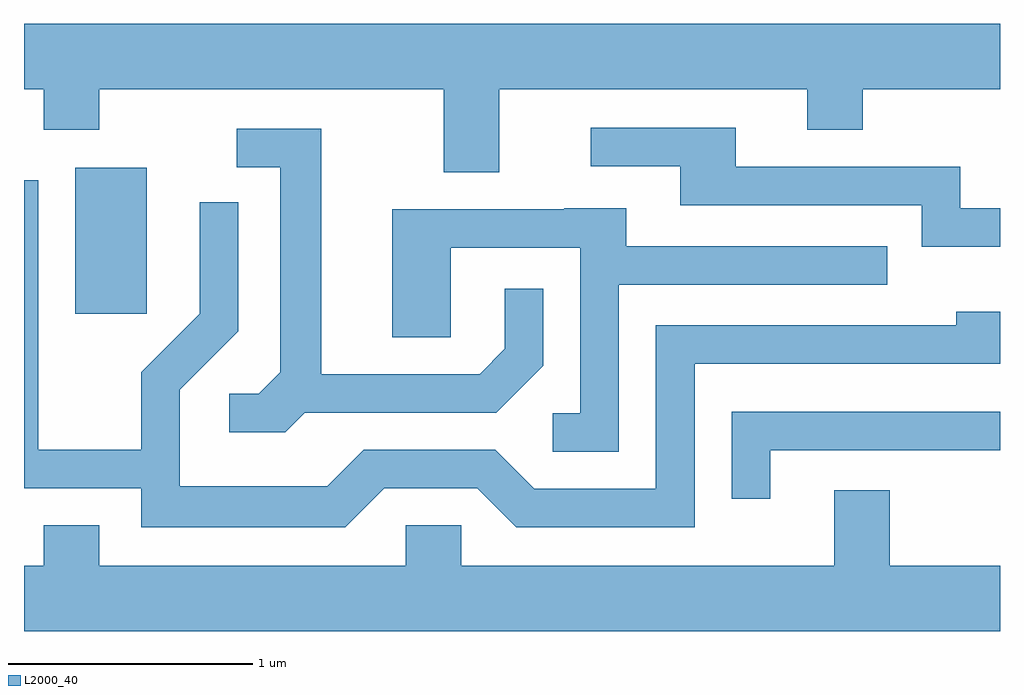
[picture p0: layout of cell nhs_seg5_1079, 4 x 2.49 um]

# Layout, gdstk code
import gdstk
lib = gdstk.Library(unit=1e-6, precision=1e-09)
def R(c, l, rs):  # rectangles x0, y0, x1, y1
    for r in rs: c.add(gdstk.rectangle(r[:2], r[2:], *l))
def P(c, l, *ps):  # polygons
    for p in ps: c.add(gdstk.Polygon(p, *l))
L2000_40 = (2000, 40)

nhs_seg5_1079 = lib.new_cell('nhs_seg5_1079')
R(nhs_seg5_1079, L2000_40, [(217.821,1400.376,218.114,1400.974)])
P(nhs_seg5_1079, L2000_40, [(219.559,1401.296),(220.821,1401.296),(220.821,1401.131),(221.049,1401.131),(221.049,1401.296),(221.611,1401.296),(221.611,1401.564),(217.611,1401.564),(217.611,1401.296),(217.691,1401.296),(217.691,1401.131),(217.919,1401.131),(217.919,1401.296),(219.331,1401.296),(219.331,1400.956),(219.559,1400.956)],
  [(221.611,1400.809),(221.449,1400.809),(221.449,1400.979),(220.529,1400.979),(220.529,1401.139),(219.933,1401.139),(219.933,1400.981),(220.301,1400.981),(220.301,1400.821),(221.291,1400.821),(221.291,1400.651),(221.611,1400.651)],
  [(218.762,1399.971),(219.547,1399.971),(219.739,1400.164),(219.739,1400.478),(219.581,1400.478),(219.581,1400.232),(219.479,1400.129),(218.829,1400.129),(218.829,1401.134),(218.483,1401.134),(218.483,1400.976),(218.661,1400.976),(218.661,1400.137),(218.574,1400.049),(218.453,1400.049),(218.453,1399.891),(218.682,1399.891)],
  [(219.087,1399.661),(219.469,1399.661),(219.629,1399.501),(220.359,1399.501),(220.359,1400.171),(221.611,1400.171),(221.611,1400.384),(221.431,1400.384),(221.431,1400.329),(220.201,1400.329),(220.201,1399.659),(219.702,1399.659),(219.542,1399.819),(219.004,1399.819),(218.854,1399.669),(218.249,1399.669),(218.249,1400.064),(218.489,1400.304),(218.489,1400.833),(218.331,1400.833),(218.331,1400.377),(218.091,1400.137),(218.091,1399.819),(217.669,1399.819),(217.669,1400.924),(217.611,1400.924),(217.611,1399.661),(218.091,1399.661),(218.091,1399.501),(218.927,1399.501)],
  [(220.049,1400.496),(221.148,1400.496),(221.148,1400.654),(220.079,1400.654),(220.079,1400.809),(219.825,1400.809),(219.825,1400.804),(219.121,1400.804),(219.121,1400.281),(219.359,1400.281),(219.359,1400.646),(219.891,1400.646),(219.891,1399.969),(219.778,1399.969),(219.778,1399.811),(220.049,1399.811)],
  [(220.669,1399.816),(221.611,1399.816),(221.611,1399.974),(220.511,1399.974),(220.511,1399.618),(220.669,1399.618)],
  [(221.611,1399.344),(221.159,1399.344),(221.159,1399.654),(220.931,1399.654),(220.931,1399.344),(219.404,1399.344),(219.404,1399.509),(219.176,1399.509),(219.176,1399.344),(217.919,1399.344),(217.919,1399.509),(217.691,1399.509),(217.691,1399.344),(217.611,1399.344),(217.611,1399.076),(221.611,1399.076)])

lib.write_gds('nhs_seg5_1079.gds')
